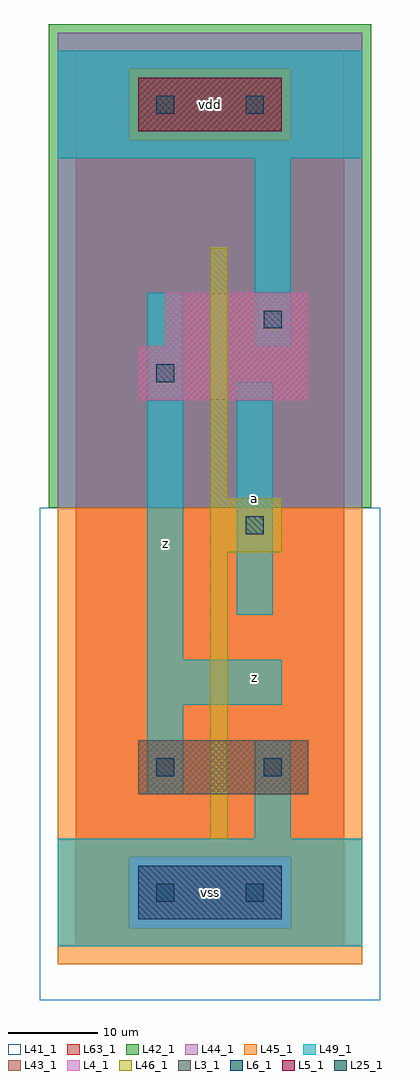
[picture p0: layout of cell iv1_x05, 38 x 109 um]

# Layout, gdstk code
import gdstk
lib = gdstk.Library(unit=1e-6, precision=1e-09)
def R(c, l, rs):  # rectangles x0, y0, x1, y1
    for r in rs: c.add(gdstk.rectangle(r[:2], r[2:], *l))
L3_1 = (3, 1)
L4_1 = (4, 1)
L5_1 = (5, 1)
L6_1 = (6, 1)
L25_1 = (25, 1)
L41_1 = (41, 1)
L42_1 = (42, 1)
L43_1 = (43, 1)
L44_1 = (44, 1)
L45_1 = (45, 1)
L46_1 = (46, 1)
L49_1 = (49, 1)
L63_1 = (63, 1)

iv1_x05 = lib.new_cell('iv1_x05')
R(iv1_x05, L3_1, [(7,17,26,23)])
R(iv1_x05, L4_1, [(7,61,26,67), (10,67,26,73)])
R(iv1_x05, L5_1, [(7,91,23,97)])
R(iv1_x05, L6_1, [(7,3,23,9)])
R(iv1_x05, L25_1, [(9,5,11,7), (19,5,21,7), (9,19,11,21), (21,19,23,21), (19,46,21,48), (9,63,11,65), (21,69,23,71), (9,93,11,95), (19,93,21,95)])
R(iv1_x05, L41_1, [(-4,-6,34,49), (-3,-3,33,49)])
R(iv1_x05, L42_1, [(-3,49,33,103)])
R(iv1_x05, L43_1, [(7,3,23,9), (7,17,26,23), (7,61,26,67), (10,67,26,73), (7,91,23,97)])
R(iv1_x05, L44_1, [(6,2,24,10), (-2,49,32,90), (-2,90,6,98), (24,90,32,98), (-2,98,32,102)])
R(iv1_x05, L45_1, [(-2,-2,32,2), (-2,2,6,10), (24,2,32,10), (-2,10,32,49), (6,90,24,98)])
R(iv1_x05, L46_1, [(15,12,17,44), (15,44,23,50), (15,50,17,78)])
R(iv1_x05, L49_1, [(-2,0,32,12), (20,12,24,23), (8,17,12,27), (8,27,23,32), (8,32,12,73), (18,37,22,63), (20,67,24,88), (-2,88,32,100)])
R(iv1_x05, L63_1, [(0,0,30,100)])
iv1_x05.add(gdstk.Label('z', (10,45), layer=49, texttype=1))
iv1_x05.add(gdstk.Label('z', (10,45), layer=49, texttype=1))
iv1_x05.add(gdstk.Label('vss', (15,6), layer=49, texttype=1))
iv1_x05.add(gdstk.Label('vss', (15,6), layer=49, texttype=1))
iv1_x05.add(gdstk.Label('z', (20,30), layer=49, texttype=1))
iv1_x05.add(gdstk.Label('z', (20,30), layer=49, texttype=1))
iv1_x05.add(gdstk.Label('a', (20,50), layer=49, texttype=1))
iv1_x05.add(gdstk.Label('a', (20,50), layer=49, texttype=1))
iv1_x05.add(gdstk.Label('vdd', (15,94), layer=49, texttype=1))
iv1_x05.add(gdstk.Label('vdd', (15,94), layer=49, texttype=1))

lib.write_gds('iv1_x05.gds')
